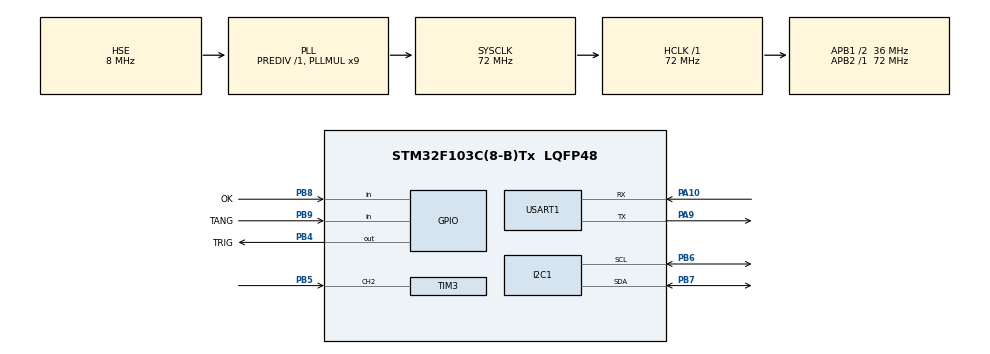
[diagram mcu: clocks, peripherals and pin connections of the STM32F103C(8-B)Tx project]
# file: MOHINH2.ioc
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Mcu.Family=STM32F1
Mcu.Name=STM32F103C(8-B)Tx
Mcu.Package=LQFP48
NVIC.PriorityGroup=NVIC_PRIORITYGROUP_4
NVIC.TIM2_IRQn=true\:10\:0\:true\:false\:true\:true\:true\:true
NVIC.TIM3_IRQn=true\:0\:0\:false\:false\:true\:true\:true\:true
NVIC.USART1_IRQn=true\:0\:0\:false\:false\:true\:true\:true\:true
PA10.Mode=Asynchronous
PA10.Signal=USART1_RX
PA13.Mode=Serial_Wire
PA13.Signal=SYS_JTMS-SWDIO
PA14.Mode=Serial_Wire
PA14.Signal=SYS_JTCK-SWCLK
PA9.Mode=Asynchronous
PA9.Signal=USART1_TX
PB4.GPIO_Label=TRIG
PB4.Signal=GPIO_Output
PB5.Signal=S_TIM3_CH2
PB6.Mode=I2C
PB6.Signal=I2C1_SCL
PB7.Mode=I2C
PB7.Signal=I2C1_SDA
PB8.GPIO_Label=OK
PB8.Signal=GPIO_Input
PB9.GPIO_Label=TANG
PB9.Signal=GPIO_Input
PD0-OSC_IN.Mode=HSE-External-Oscillator
PD0-OSC_IN.Signal=RCC_OSC_IN
PD1-OSC_OUT.Mode=HSE-External-Oscillator
PD1-OSC_OUT.Signal=RCC_OSC_OUT
ProjectManager.HeapSize=0x200
ProjectManager.StackSize=0x400
ProjectManager.TargetToolchain=MDK-ARM V5.32
RCC.AHBFreq_Value=72000000
RCC.APB1CLKDivider=RCC_HCLK_DIV2
RCC.APB1Freq_Value=36000000
RCC.APB1TimFreq_Value=72000000
RCC.APB2Freq_Value=72000000
RCC.APB2TimFreq_Value=72000000
RCC.HCLKFreq_Value=72000000
RCC.PLLMUL=RCC_PLL_MUL9
RCC.PLLSourceVirtual=RCC_PLLSOURCE_HSE
RCC.SYSCLKFreq_VALUE=72000000
RCC.SYSCLKSource=RCC_SYSCLKSOURCE_PLLCLK
RCC.USBFreq_Value=72000000
SH.S_TIM3_CH2.0=TIM3_CH2,Input_Capture2_from_TI2
TIM1.Prescaler=71
TIM2.Period=9
TIM2.Prescaler=7199
TIM3.Channel-Input_Capture2_from_TI2=TIM_CHANNEL_2
TIM3.Prescaler=71
TIM4.Prescaler=71
USART1.VirtualMode=VM_ASYNC
VP_TIM1_VS_ClockSourceINT.Mode=Internal
VP_TIM2_VS_ClockSourceINT.Mode=Internal
VP_TIM3_VS_ClockSourceINT.Mode=Internal
VP_TIM4_VS_ClockSourceINT.Mode=Internal
board=custom

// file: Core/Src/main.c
/* USER CODE BEGIN Header */
/**
  ******************************************************************************
  * @file           : main.c
  * @brief          : Main program body
  ******************************************************************************
  * @attention
  *
  * Copyright (c) 2025 STMicroelectronics.
  * All rights reserved.
  *
  * This software is licensed under terms that can be found in the LICENSE file
  * in the root directory of this software component.
  * If no LICENSE file comes with this software, it is provided AS-IS.
  *
  ******************************************************************************
  */
/* USER CODE END Header */
#include "main.h"

/* USER CODE BEGIN Includes */
#include "CLCD_I2C.h"
#include "stdio.h"
#include "string.h"
#include <stdlib.h>
#include <DS3231.h>
/* USER CODE END Includes */

I2C_HandleTypeDef hi2c1;

TIM_HandleTypeDef htim1;
TIM_HandleTypeDef htim2;
TIM_HandleTypeDef htim3;
TIM_HandleTypeDef htim4;

UART_HandleTypeDef huart1;

/* USER CODE BEGIN PV */
int pulse_duration =0;
int KCDO = 0;
CLCD_I2C_Name LCD1;
char text1[30];
char text2[30];
char text3[30];
char text4[30];
uint32_t ic_val1 = 0;
uint32_t ic_val2 = 0;
uint32_t difference = 0;
uint8_t is_captured = 0;
uint8_t distance = 0;
uint8_t IndexBuff = 0;
char IndexData[50];
unsigned short Flag = 0;
uint16_t timesend = 30;
DS3231_Name DS3231;
uint8_t mode = 0;
uint16_t demtime = 0;
uint8_t ena = 0;
/* USER CODE END PV */

void SystemClock_Config(void);
static void MX_GPIO_Init(void);
static void MX_I2C1_Init(void);
static void MX_USART1_UART_Init(void);
static void MX_TIM1_Init(void);
static void MX_TIM4_Init(void);
static void MX_TIM3_Init(void);
static void MX_TIM2_Init(void);

/* USER CODE BEGIN 0 */

void Delay_us(uint16_t time)
{
    __HAL_TIM_SET_COUNTER(&htim1, 0);
    while (__HAL_TIM_GET_COUNTER(&htim1) < time) {}
}

void senTRIG()
{
	HAL_GPIO_WritePin(TRIG_GPIO_Port,TRIG_Pin,GPIO_PIN_SET);
	Delay_us(1);
	HAL_GPIO_WritePin(TRIG_GPIO_Port,TRIG_Pin,GPIO_PIN_RESET);
}

void HAL_TIM_IC_CaptureCallback(TIM_HandleTypeDef *htim) {
    if (htim->Instance == htim3.Instance) {
        if (is_captured == 0) {
            ic_val1 = HAL_TIM_ReadCapturedValue(htim, TIM_CHANNEL_2);
            __HAL_TIM_SET_CAPTUREPOLARITY(htim, TIM_CHANNEL_2, TIM_INPUTCHANNELPOLARITY_FALLING);
            is_captured = 1;
        } else if (is_captured == 1) {
            ic_val2 = HAL_TIM_ReadCapturedValue(htim, TIM_CHANNEL_2);
            __HAL_TIM_SET_CAPTUREPOLARITY(htim, TIM_CHANNEL_2, TIM_INPUTCHANNELPOLARITY_RISING);
            is_captured = 0;
            if (ic_val2 > ic_val1) {
                difference = ic_val2 - ic_val1;
            } else {
                difference = (0xFFFF - ic_val1) + ic_val2;
            }
        }
		HAL_TIM_IC_Start_IT(&htim3, TIM_CHANNEL_2);
    }
}

uint8_t Read_HCR05()
{
	senTRIG();
	return distance = (difference * 0.0343) / 2;
}

void TINHTOAN(uint8_t Flag)
{
    if(Flag)
    {
        if(IndexData[0] == 'T')
        {
            timesend = atoi(IndexData + 1);
        }
        Flag = 0;
    }
}

void docnutan()
{
	if(HAL_GPIO_ReadPin(OK_GPIO_Port,OK_Pin) == 1)
	{
		mode = 0;
		CLCD_I2C_Clear(&LCD1);
	}
	else if(HAL_GPIO_ReadPin(TANG_GPIO_Port,TANG_Pin) == 1)
	{
		mode = 1;
		CLCD_I2C_Clear(&LCD1);
	}
}
void HAL_TIM_PeriodElapsedCallback(TIM_HandleTypeDef *htim)
{
	demtime++;
	if(demtime < 30)
	{
		KCDO = Read_HCR05();
		DS3231_GetTime(&DS3231);
		//TINHTOAN(Flag);
	}
	else if(demtime > 30 && demtime < 60)
	{
		docnutan();
		sprintf(text1,"Kc do:%d  ",KCDO);
		sprintf(text2,"khoang cach:%d\r\n",KCDO);
		sprintf(text3,"TIME:%d:%d:%d  ",DS3231.Hour,DS3231.Min,DS3231.Sec);
		if(mode == 0)
		{
			CLCD_I2C_SetCursor(&LCD1, 0, 0);
			CLCD_I2C_WriteString(&LCD1,"CHE DO 1");
			CLCD_I2C_SetCursor(&LCD1, 0, 1);
			CLCD_I2C_WriteString(&LCD1,text1);
		}
		else if(mode == 1)
		{
			CLCD_I2C_SetCursor(&LCD1, 0, 0);
			CLCD_I2C_WriteString(&LCD1,"CHE DO 2");
			CLCD_I2C_SetCursor(&LCD1, 0, 1);
			CLCD_I2C_WriteString(&LCD1,text3);
		}
	}
	else if(demtime > 60 && demtime < 60+timesend)
	{
		ena++;
		if(ena == 1)
		{
			HAL_UART_Transmit_IT(&huart1,(uint8_t*)text2,strlen(text2));
		}
	}
	else if(demtime > 60+timesend)
	{
		demtime = 0;
		ena = 0;
	}
	HAL_TIM_Base_Start_IT(&htim2);
}
void HAL_UART_RxCpltCallback(UART_HandleTypeDef *huart)
{
	if(huart -> Instance == USART1)
	{
		if(IndexData[IndexBuff] != 'K') /*/!,,,, 0x0A = \n*/
		{
			IndexBuff++;
		}
		else
		{
			timesend = atoi(IndexData + 1);
			if(timesend == 0) timesend = 1;
			Flag = 1;
			IndexBuff = 0;
		}
		HAL_UART_Receive_IT(&huart1, (uint8_t*)&IndexData[IndexBuff], 1);
	}
}
/* USER CODE END 0 */

int main(void)
{

  /* MCU Configuration--------------------------------------------------------*/

  /* Reset of all peripherals, Initializes the Flash interface and the Systick. */
  HAL_Init();

  /* Configure the system clock */
  SystemClock_Config();

  /* Initialize all configured peripherals */
  MX_GPIO_Init();
  MX_I2C1_Init();
  MX_USART1_UART_Init();
  MX_TIM1_Init();
  MX_TIM4_Init();
  MX_TIM3_Init();
  MX_TIM2_Init();
  /* USER CODE BEGIN 2 */

	HAL_TIM_IC_Start_IT(&htim3, TIM_CHANNEL_2);
	HAL_TIM_Base_Start(&htim1);
	HAL_TIM_Base_Start_IT(&htim2);
	CLCD_I2C_Init(&LCD1,&hi2c1,0x4e,16,02,&htim4);
	DS3231_Init(&DS3231, &hi2c1);
	HAL_UART_Receive_IT(&huart1, (uint8_t*)&IndexData[IndexBuff], 1);
  /* USER CODE END 2 */

  /* Infinite loop */
  while (1)
  {

  }
}

void SystemClock_Config(void)
{
  RCC_OscInitTypeDef RCC_OscInitStruct = {0};
  RCC_ClkInitTypeDef RCC_ClkInitStruct = {0};

  /** Initializes the RCC Oscillators according to the specified parameters
  * in the RCC_OscInitTypeDef structure.
  */
  RCC_OscInitStruct.OscillatorType = RCC_OSCILLATORTYPE_HSE;
  RCC_OscInitStruct.HSEState = RCC_HSE_ON;
  RCC_OscInitStruct.HSEPredivValue = RCC_HSE_PREDIV_DIV1;
  RCC_OscInitStruct.HSIState = RCC_HSI_ON;
  RCC_OscInitStruct.PLL.PLLState = RCC_PLL_ON;
  RCC_OscInitStruct.PLL.PLLSource = RCC_PLLSOURCE_HSE;
  RCC_OscInitStruct.PLL.PLLMUL = RCC_PLL_MUL9;
  if (HAL_RCC_OscConfig(&RCC_OscInitStruct) != HAL_OK)
  {
    Error_Handler();
  }

  /** Initializes the CPU, AHB and APB buses clocks
  */
  RCC_ClkInitStruct.ClockType = RCC_CLOCKTYPE_HCLK|RCC_CLOCKTYPE_SYSCLK
                              |RCC_CLOCKTYPE_PCLK1|RCC_CLOCKTYPE_PCLK2;
  RCC_ClkInitStruct.SYSCLKSource = RCC_SYSCLKSOURCE_PLLCLK;
  RCC_ClkInitStruct.AHBCLKDivider = RCC_SYSCLK_DIV1;
  RCC_ClkInitStruct.APB1CLKDivider = RCC_HCLK_DIV2;
  RCC_ClkInitStruct.APB2CLKDivider = RCC_HCLK_DIV1;

  if (HAL_RCC_ClockConfig(&RCC_ClkInitStruct, FLASH_LATENCY_2) != HAL_OK)
  {
    Error_Handler();
  }
}

static void MX_I2C1_Init(void)
{

  hi2c1.Instance = I2C1;
  hi2c1.Init.ClockSpeed = 100000;
  hi2c1.Init.DutyCycle = I2C_DUTYCYCLE_2;
  hi2c1.Init.OwnAddress1 = 0;
  hi2c1.Init.AddressingMode = I2C_ADDRESSINGMODE_7BIT;
  hi2c1.Init.DualAddressMode = I2C_DUALADDRESS_DISABLE;
  hi2c1.Init.OwnAddress2 = 0;
  hi2c1.Init.GeneralCallMode = I2C_GENERALCALL_DISABLE;
  hi2c1.Init.NoStretchMode = I2C_NOSTRETCH_DISABLE;
  if (HAL_I2C_Init(&hi2c1) != HAL_OK)
  {
    Error_Handler();
  }

}

static void MX_TIM1_Init(void)
{

  TIM_ClockConfigTypeDef sClockSourceConfig = {0};
  TIM_MasterConfigTypeDef sMasterConfig = {0};

  htim1.Instance = TIM1;
  htim1.Init.Prescaler = 71;
  htim1.Init.CounterMode = TIM_COUNTERMODE_UP;
  htim1.Init.Period = 65535;
  htim1.Init.ClockDivision = TIM_CLOCKDIVISION_DIV1;
  htim1.Init.RepetitionCounter = 0;
  htim1.Init.AutoReloadPreload = TIM_AUTORELOAD_PRELOAD_DISABLE;
  if (HAL_TIM_Base_Init(&htim1) != HAL_OK)
  {
    Error_Handler();
  }
  sClockSourceConfig.ClockSource = TIM_CLOCKSOURCE_INTERNAL;
  if (HAL_TIM_ConfigClockSource(&htim1, &sClockSourceConfig) != HAL_OK)
  {
    Error_Handler();
  }
  sMasterConfig.MasterOutputTrigger = TIM_TRGO_RESET;
  sMasterConfig.MasterSlaveMode = TIM_MASTERSLAVEMODE_DISABLE;
  if (HAL_TIMEx_MasterConfigSynchronization(&htim1, &sMasterConfig) != HAL_OK)
  {
    Error_Handler();
  }

}

static void MX_TIM2_Init(void)
{

  TIM_ClockConfigTypeDef sClockSourceConfig = {0};
  TIM_MasterConfigTypeDef sMasterConfig = {0};

  htim2.Instance = TIM2;
  htim2.Init.Prescaler = 7199;
  htim2.Init.CounterMode = TIM_COUNTERMODE_UP;
  htim2.Init.Period = 9;
  htim2.Init.ClockDivision = TIM_CLOCKDIVISION_DIV1;
  htim2.Init.AutoReloadPreload = TIM_AUTORELOAD_PRELOAD_DISABLE;
  if (HAL_TIM_Base_Init(&htim2) != HAL_OK)
  {
    Error_Handler();
  }
  sClockSourceConfig.ClockSource = TIM_CLOCKSOURCE_INTERNAL;
  if (HAL_TIM_ConfigClockSource(&htim2, &sClockSourceConfig) != HAL_OK)
  {
    Error_Handler();
  }
  sMasterConfig.MasterOutputTrigger = TIM_TRGO_RESET;
  sMasterConfig.MasterSlaveMode = TIM_MASTERSLAVEMODE_DISABLE;
  if (HAL_TIMEx_MasterConfigSynchronization(&htim2, &sMasterConfig) != HAL_OK)
  {
    Error_Handler();
  }

}

static void MX_TIM3_Init(void)
{

  TIM_ClockConfigTypeDef sClockSourceConfig = {0};
  TIM_MasterConfigTypeDef sMasterConfig = {0};
  TIM_IC_InitTypeDef sConfigIC = {0};

  htim3.Instance = TIM3;
  htim3.Init.Prescaler = 71;
  htim3.Init.CounterMode = TIM_COUNTERMODE_UP;
  htim3.Init.Period = 65535;
  htim3.Init.ClockDivision = TIM_CLOCKDIVISION_DIV1;
  htim3.Init.AutoReloadPreload = TIM_AUTORELOAD_PRELOAD_DISABLE;
  if (HAL_TIM_Base_Init(&htim3) != HAL_OK)
  {
    Error_Handler();
  }
  sClockSourceConfig.ClockSource = TIM_CLOCKSOURCE_INTERNAL;
  if (HAL_TIM_ConfigClockSource(&htim3, &sClockSourceConfig) != HAL_OK)
  {
    Error_Handler();
  }
  if (HAL_TIM_IC_Init(&htim3) != HAL_OK)
  {
    Error_Handler();
  }
  sMasterConfig.MasterOutputTrigger = TIM_TRGO_RESET;
  sMasterConfig.MasterSlaveMode = TIM_MASTERSLAVEMODE_DISABLE;
  if (HAL_TIMEx_MasterConfigSynchronization(&htim3, &sMasterConfig) != HAL_OK)
  {
    Error_Handler();
  }
  sConfigIC.ICPolarity = TIM_INPUTCHANNELPOLARITY_RISING;
  sConfigIC.ICSelection = TIM_ICSELECTION_DIRECTTI;
  sConfigIC.ICPrescaler = TIM_ICPSC_DIV1;
  sConfigIC.ICFilter = 0;
  if (HAL_TIM_IC_ConfigChannel(&htim3, &sConfigIC, TIM_CHANNEL_2) != HAL_OK)
  {
    Error_Handler();
  }

}

static void MX_TIM4_Init(void)
{

  TIM_ClockConfigTypeDef sClockSourceConfig = {0};
  TIM_MasterConfigTypeDef sMasterConfig = {0};

  htim4.Instance = TIM4;
  htim4.Init.Prescaler = 71;
  htim4.Init.CounterMode = TIM_COUNTERMODE_UP;
  htim4.Init.Period = 65535;
  htim4.Init.ClockDivision = TIM_CLOCKDIVISION_DIV1;
  htim4.Init.AutoReloadPreload = TIM_AUTORELOAD_PRELOAD_DISABLE;
  if (HAL_TIM_Base_Init(&htim4) != HAL_OK)
  {
    Error_Handler();
  }
  sClockSourceConfig.ClockSource = TIM_CLOCKSOURCE_INTERNAL;
  if (HAL_TIM_ConfigClockSource(&htim4, &sClockSourceConfig) != HAL_OK)
  {
    Error_Handler();
  }
  sMasterConfig.MasterOutputTrigger = TIM_TRGO_RESET;
  sMasterConfig.MasterSlaveMode = TIM_MASTERSLAVEMODE_DISABLE;
  if (HAL_TIMEx_MasterConfigSynchronization(&htim4, &sMasterConfig) != HAL_OK)
  {
    Error_Handler();
  }

}

static void MX_USART1_UART_Init(void)
{

  huart1.Instance = USART1;
  huart1.Init.BaudRate = 115200;
  huart1.Init.WordLength = UART_WORDLENGTH_8B;
  huart1.Init.StopBits = UART_STOPBITS_1;
  huart1.Init.Parity = UART_PARITY_NONE;
  huart1.Init.Mode = UART_MODE_TX_RX;
  huart1.Init.HwFlowCtl = UART_HWCONTROL_NONE;
  huart1.Init.OverSampling = UART_OVERSAMPLING_16;
  if (HAL_UART_Init(&huart1) != HAL_OK)
  {
    Error_Handler();
  }

}

static void MX_GPIO_Init(void)
{
  GPIO_InitTypeDef GPIO_InitStruct = {0};

  /* GPIO Ports Clock Enable */
  __HAL_RCC_GPIOD_CLK_ENABLE();
  __HAL_RCC_GPIOA_CLK_ENABLE();
  __HAL_RCC_GPIOB_CLK_ENABLE();

  /*Configure GPIO pin Output Level */
  HAL_GPIO_WritePin(TRIG_GPIO_Port, TRIG_Pin, GPIO_PIN_RESET);

  /*Configure GPIO pin : TRIG_Pin */
  GPIO_InitStruct.Pin = TRIG_Pin;
  GPIO_InitStruct.Mode = GPIO_MODE_OUTPUT_PP;
  GPIO_InitStruct.Pull = GPIO_NOPULL;
  GPIO_InitStruct.Speed = GPIO_SPEED_FREQ_LOW;
  HAL_GPIO_Init(TRIG_GPIO_Port, &GPIO_InitStruct);

  /*Configure GPIO pins : OK_Pin TANG_Pin */
  GPIO_InitStruct.Pin = OK_Pin|TANG_Pin;
  GPIO_InitStruct.Mode = GPIO_MODE_INPUT;
  GPIO_InitStruct.Pull = GPIO_NOPULL;
  HAL_GPIO_Init(GPIOB, &GPIO_InitStruct);

}

void Error_Handler(void)
{
  __disable_irq();
  while (1)
  {
  }
}
